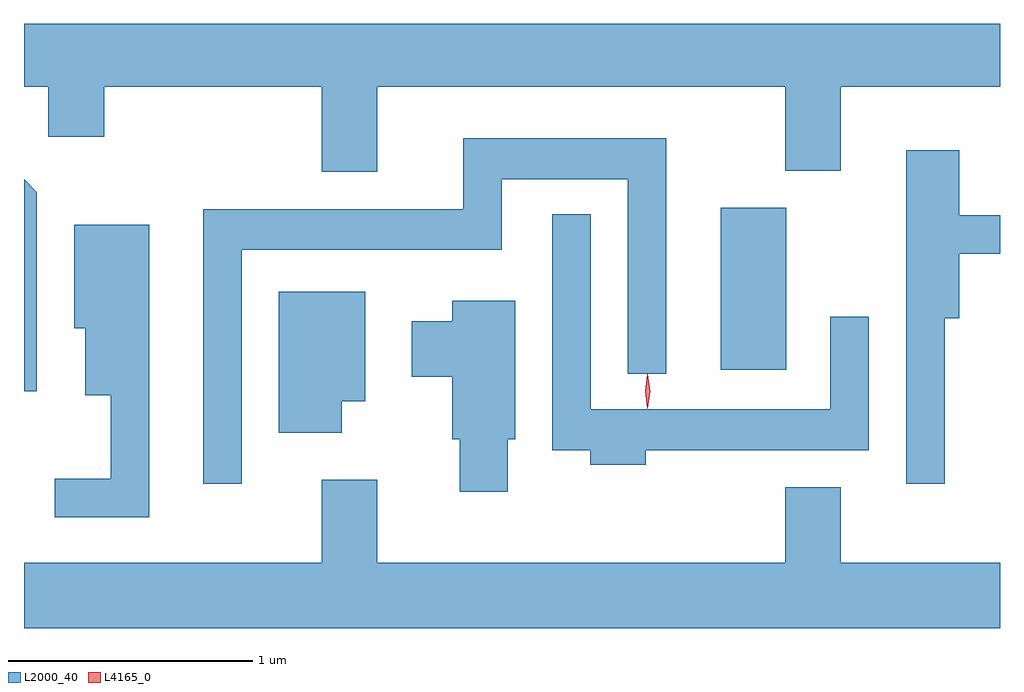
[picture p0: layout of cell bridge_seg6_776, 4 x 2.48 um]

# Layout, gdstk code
import gdstk
lib = gdstk.Library(unit=1e-6, precision=1e-09)
def R(c, l, rs):  # rectangles x0, y0, x1, y1
    for r in rs: c.add(gdstk.rectangle(r[:2], r[2:], *l))
def P(c, l, *ps):  # polygons
    for p in ps: c.add(gdstk.Polygon(p, *l))
L2000_40 = (2000, 40)
L4165_0 = (4165, 0)

bridge_seg6_776 = lib.new_cell('bridge_seg6_776')
R(bridge_seg6_776, L2000_40, [(527.166,1548.876,527.434,1549.539)])
P(bridge_seg6_776, L2000_40, [(525.759,1550.036),(527.431,1550.036),(527.431,1549.691),(527.659,1549.691),(527.659,1550.036),(528.311,1550.036),(528.311,1550.293),(524.311,1550.293),(524.311,1550.036),(524.411,1550.036),(524.411,1549.831),(524.639,1549.831),(524.639,1550.036),(525.531,1550.036),(525.531,1549.686),(525.759,1549.686)],
  [(525.204,1549.366),(526.269,1549.366),(526.269,1549.656),(526.786,1549.656),(526.786,1548.858),(526.944,1548.858),(526.944,1549.824),(526.111,1549.824),(526.111,1549.534),(525.046,1549.534),(525.046,1548.408),(525.204,1548.408)],
  [(528.084,1549.086),(528.144,1549.086),(528.144,1549.351),(528.311,1549.351),(528.311,1549.509),(528.144,1549.509),(528.144,1549.774),(527.926,1549.774),(527.926,1548.408),(528.084,1548.408)],
  [(524.364,1549.602),(524.311,1549.655),(524.311,1548.788),(524.364,1548.788)],
  [(526.859,1548.546),(527.774,1548.546),(527.774,1549.093),(527.616,1549.093),(527.616,1548.714),(526.634,1548.714),(526.634,1549.513),(526.476,1549.513),(526.476,1548.546),(526.631,1548.546),(526.631,1548.486),(526.859,1548.486)],
  [(524.824,1549.469),(524.516,1549.469),(524.516,1549.046),(524.561,1549.046),(524.561,1548.771),(524.666,1548.771),(524.666,1548.429),(524.438,1548.429),(524.438,1548.271),(524.824,1548.271)],
  [(525.614,1548.746),(525.709,1548.746),(525.709,1549.194),(525.356,1549.194),(525.356,1548.616),(525.614,1548.616)],
  [(526.294,1548.591),(526.324,1548.591),(526.324,1549.159),(526.066,1549.159),(526.066,1549.074),(525.901,1549.074),(525.901,1548.846),(526.066,1548.846),(526.066,1548.591),(526.096,1548.591),(526.096,1548.376),(526.294,1548.376)],
  [(525.531,1548.424),(525.531,1548.084),(524.311,1548.084),(524.311,1547.816),(528.311,1547.816),(528.311,1548.084),(527.659,1548.084),(527.659,1548.394),(527.431,1548.394),(527.431,1548.084),(525.759,1548.084),(525.759,1548.424)])
P(bridge_seg6_776, L4165_0, [(526.866,1548.717),(526.857,1548.787),(526.866,1548.856),(526.867,1548.856),(526.868,1548.856),(526.877,1548.787),(526.868,1548.717),(526.867,1548.717)])

lib.write_gds('bridge_seg6_776.gds')
